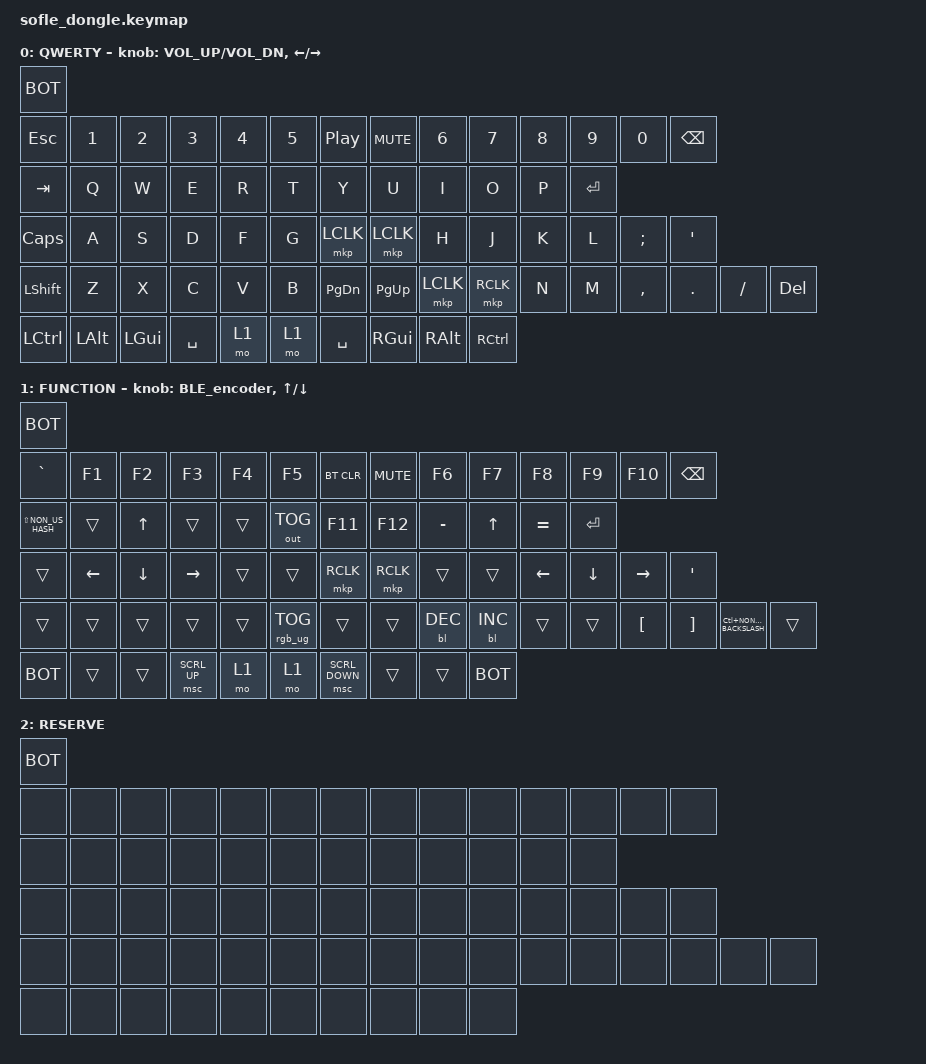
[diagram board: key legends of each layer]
/*
 * Copyright (c) 2025 ZitaoTech
 *
 * SPDX-License-Identifier: MIT
 */

#include <dt-bindings/zmk/mouse.h>
#include <behaviors.dtsi>
#include <dt-bindings/zmk/backlight.h>
#include <dt-bindings/zmk/bt.h>
#include <dt-bindings/zmk/keys.h>
#include <dt-bindings/zmk/outputs.h>
#include <dt-bindings/zmk/pointing.h>
#include <dt-bindings/zmk/rgb.h>

#define FUNC 1
#define RES 2
#define BOT bootloader

/ {
    behaviors {
        td0: tap_dance_0 {
            compatible = "zmk,behavior-tap-dance";
            #binding-cells = <0>;
            tapping-term-ms = <400>;
            bindings = <&mkp LCLK>, <&bt BT_CLR>;
        };
    };

    behaviors {
        hm: homerow_mods {
            compatible = "zmk,behavior-hold-tap";
            #binding-cells = <2>;
            tapping-term-ms = <500>;
            bindings = <&kp &kp>;
        };
    };

    behaviors {
        sp_sc: behavior_spacescroll {
            compatible = "zmk,behavior-hold-tap";
            #binding-cells = <2>;
            flavor = "tap-preferred";     /* 单击优先 */
            tapping-term-ms = <200>;       /* 长按阈值 */
            bindings = <&none &kp>;        /* hold=none, tap=space */
        };
    };

    behaviors {
        BLE_encoder: BLE_encoder {
            compatible = "zmk,behavior-sensor-rotate";
            #sensor-binding-cells = <0>;
            bindings = <&bt BT_NXT>, <&bt BT_PRV>;
        };
    };

    keymap {
        compatible = "zmk,keymap";

        default_layer {
            display-name = "QWERTY";
            bindings = <
&BOT
&kp ESC    &kp N1    &kp N2    &kp N3     &kp N4  &kp N5  &kp C_PLAY_PAUSE  &kp C_MUTE  &kp N6     &kp N7     &kp N8  &kp N9     &kp N0     &kp BSPC
&kp TAB    &kp Q     &kp W     &kp E      &kp R   &kp T   &kp Y             &kp U       &kp I      &kp O      &kp P   &kp ENTER
&kp CAPS   &kp A     &kp S     &kp D      &kp F   &kp G   &mkp LCLK         &mkp LCLK   &kp H      &kp J      &kp K   &kp L      &kp SEMI   &kp SQT
&kp LSHFT  &kp Z     &kp X     &kp C      &kp V   &kp B   &kp PG_DN         &kp PG_UP   &mkp LCLK  &mkp RCLK  &kp N   &kp M      &kp COMMA  &kp DOT   &kp FSLH  &kp DEL
&kp LCTRL  &kp LALT  &kp LGUI  &kp SPACE  &mo 1   &mo 1   &kp SPACE         &kp RGUI    &kp RALT   &kp RCTRL
            >;

            sensor-bindings = <&inc_dec_kp C_VOL_UP C_VOL_DN &inc_dec_kp LEFT RIGHT>;
        };

        func_layer {
            display-name = "FUNCTION";
            bindings = <
&BOT
&kp GRAVE            &kp F1    &kp F2    &kp F3        &kp F4  &kp F5           &bt BT_CLR      &kp C_MUTE  &kp F6      &kp F7      &kp F8     &kp F9     &kp F10           &kp BSPC
&kp LS(NON_US_HASH)  &trans    &kp UP    &trans        &trans  &out OUT_TOG     &kp F11         &kp F12     &kp MINUS   &kp UP      &kp EQUAL  &kp ENTER
&trans               &kp LEFT  &kp DOWN  &kp RIGHT     &trans  &trans           &mkp RCLK       &mkp RCLK   &trans      &trans      &kp LEFT   &kp DOWN   &kp RIGHT         &kp SQT
&trans               &trans    &trans    &trans        &trans  &rgb_ug RGB_TOG  &trans          &trans      &bl BL_DEC  &bl BL_INC  &trans     &trans     &kp LEFT_BRACKET  &kp RIGHT_BRACKET  &kp LC(NON_US_BACKSLASH)  &trans
&BOT                 &trans    &trans    &msc SCRL_UP  &mo 1   &mo 1            &msc SCRL_DOWN  &trans      &trans      &BOT
            >;

            sensor-bindings = <&BLE_encoder &inc_dec_kp UP DOWN>;
        };

        RES_layer {
            display-name = "RESERVE";
            bindings = <
&BOT
&none  &none  &none  &none  &none  &none  &none  &none  &none  &none  &none  &none  &none  &none
&none  &none  &none  &none  &none  &none  &none  &none  &none  &none  &none  &none
&none  &none  &none  &none  &none  &none  &none  &none  &none  &none  &none  &none  &none  &none
&none  &none  &none  &none  &none  &none  &none  &none  &none  &none  &none  &none  &none  &none  &none  &none
&none  &none  &none  &none  &none  &none  &none  &none  &none  &none
            >;
        };
    };
};
